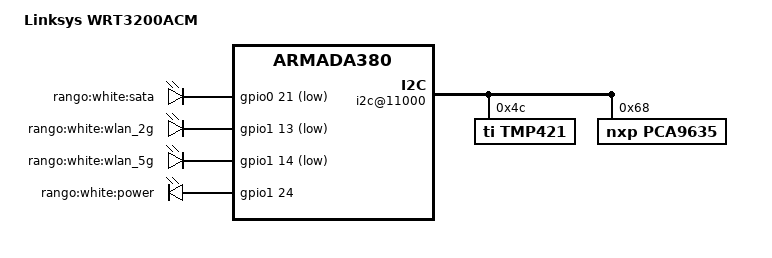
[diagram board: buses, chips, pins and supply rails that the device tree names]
/*
 * Device Tree file for the Linksys WRT3200ACM (Rango)
 *
 * Copyright (C) 2016 Imre Kaloz <kaloz@openwrt.org>
 *
 *
 * This file is dual-licensed: you can use it either under the terms
 * of the GPL or the X11 license, at your option. Note that this dual
 * licensing only applies to this file, and not this project as a
 * whole.
 *
 *  a) This file is licensed under the terms of the GNU General Public
 *     License version 2.  This program is licensed "as is" without
 *     any warranty of any kind, whether express or implied.
 *
 * Or, alternatively,
 *
 *  b) Permission is hereby granted, free of charge, to any person
 *     obtaining a copy of this software and associated documentation
 *     files (the "Software"), to deal in the Software without
 *     restriction, including without limitation the rights to use,
 *     copy, modify, merge, publish, distribute, sublicense, and/or
 *     sell copies of the Software, and to permit persons to whom the
 *     Software is furnished to do so, subject to the following
 *     conditions:
 *
 *     The above copyright notice and this permission notice shall be
 *     included in all copies or substantial portions of the Software.
 *
 *     THE SOFTWARE IS PROVIDED "AS IS", WITHOUT WARRANTY OF ANY KIND,
 *     EXPRESS OR IMPLIED, INCLUDING BUT NOT LIMITED TO THE WARRANTIES
 *     OF MERCHANTABILITY, FITNESS FOR A PARTICULAR PURPOSE AND
 *     NONINFRINGEMENT. IN NO EVENT SHALL THE AUTHORS OR COPYRIGHT
 *     HOLDERS BE LIABLE FOR ANY CLAIM, DAMAGES OR OTHER LIABILITY,
 *     WHETHER IN AN ACTION OF CONTRACT, TORT OR OTHERWISE, ARISING
 *     FROM, OUT OF OR IN CONNECTION WITH THE SOFTWARE OR THE USE OR
 *     OTHER DEALINGS IN THE SOFTWARE.
 */

/dts-v1/;
#include <dt-bindings/gpio/gpio.h>
#include <dt-bindings/input/input.h>
#include "armada-385.dtsi"

/ {
	model = "Linksys WRT3200ACM";
	compatible = "linksys,rango", "linksys,armada385", "marvell,armada385",
		     "marvell,armada380";

	soc {

		internal-regs {

			spi@10600 {
				status = "disabled";
			};

			i2c@11000 {
				pinctrl-names = "default";
				pinctrl-0 = <&i2c0_pins>;
				status = "okay";

				tmp421@4c {
					compatible = "ti,tmp421";
					reg = <0x4c>;
				};

				pca9635@68 {
					#address-cells = <1>;
					#size-cells = <0>;
					compatible = "nxp,pca9635";
					reg = <0x68>;

					wan_amber@0 {
						label = "rango:amber:wan";
						reg = <0x0>;
					};

					wan_white@1 {
						label = "rango:white:wan";
						reg = <0x1>;
					};

					usb2@5 {
						label = "rango:white:usb2";
						reg = <0x5>;
					};

					usb3_1@6 {
						label = "rango:white:usb3_1";
						reg = <0x6>;
					};

					usb3_2@7 {
						label = "rango:white:usb3_2";
						reg = <0x7>;
					};

					wps_white@8 {
						label = "rango:white:wps";
						reg = <0x8>;
					};

					wps_amber@9 {
						label = "rango:amber:wps";
						reg = <0x9>;
					};
				};
			};

		};


	};

	gpio-leds {
		compatible = "gpio-leds";
		pinctrl-0 = <&power_led_pin &sata_led_pin &wlan_2g_led_pin &wlan_5g_led_pin>;
		pinctrl-names = "default";

		sata {
			label = "rango:white:sata";
			gpios = <&gpio0 21 GPIO_ACTIVE_LOW>;
			linux,default-trigger = "disk-activity";
		};

		wlan_2g {
			label = "rango:white:wlan_2g";
			gpios = <&gpio1 13 GPIO_ACTIVE_LOW>;
		};

		wlan_5g {
			label = "rango:white:wlan_5g";
			gpios = <&gpio1 14 GPIO_ACTIVE_LOW>;
		};

		power {
			label = "rango:white:power";
			gpios = <&gpio1 24 GPIO_ACTIVE_HIGH>;
			default-state = "on";
		};
	};

	dsa@0 {
		status = "okay";
	};

};
